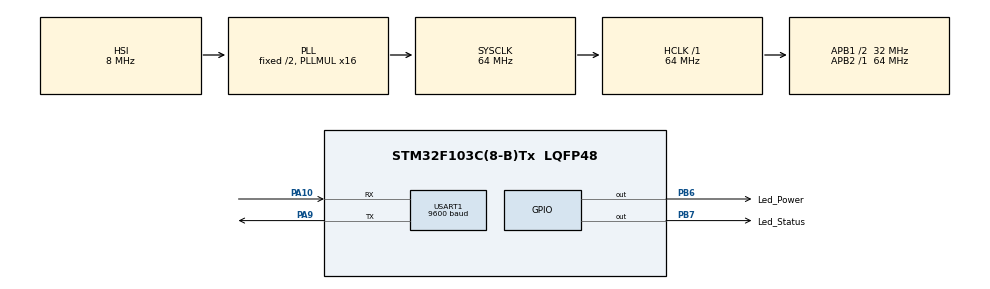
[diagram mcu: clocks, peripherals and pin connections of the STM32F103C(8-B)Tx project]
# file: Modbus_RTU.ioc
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Mcu.Family=STM32F1
Mcu.Name=STM32F103C(8-B)Tx
Mcu.Package=LQFP48
NVIC.PriorityGroup=NVIC_PRIORITYGROUP_4
NVIC.TIM4_IRQn=true\:0\:0\:false\:false\:true\:true\:true
NVIC.USART1_IRQn=true\:0\:0\:false\:false\:true\:true\:true
PA10.Mode=Asynchronous
PA10.Signal=USART1_RX
PA13.Mode=Serial_Wire
PA13.Signal=SYS_JTMS-SWDIO
PA14.Mode=Serial_Wire
PA14.Signal=SYS_JTCK-SWCLK
PA9.Mode=Asynchronous
PA9.Signal=USART1_TX
PB6.GPIO_Label=Led_Power
PB6.Signal=GPIO_Output
PB7.GPIO_Label=Led_Status
PB7.Signal=GPIO_Output
ProjectManager.HeapSize=0x200
ProjectManager.StackSize=0x400
ProjectManager.TargetToolchain=MDK-ARM V5.32
RCC.AHBFreq_Value=64000000
RCC.APB1CLKDivider=RCC_HCLK_DIV2
RCC.APB1Freq_Value=32000000
RCC.APB1TimFreq_Value=64000000
RCC.APB2Freq_Value=64000000
RCC.APB2TimFreq_Value=64000000
RCC.HCLKFreq_Value=64000000
RCC.PLLMUL=RCC_PLL_MUL16
RCC.SYSCLKFreq_VALUE=64000000
RCC.SYSCLKSource=RCC_SYSCLKSOURCE_PLLCLK
RCC.USBFreq_Value=64000000
TIM4.AutoReloadPreload=TIM_AUTORELOAD_PRELOAD_ENABLE
TIM4.Period=999
TIM4.Prescaler=64000
USART1.BaudRate=9600
USART1.VirtualMode=VM_ASYNC
VP_TIM4_VS_ClockSourceINT.Mode=Internal
board=custom

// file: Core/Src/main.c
/* USER CODE BEGIN Header */
/**
  ******************************************************************************
  * @file           : main.c
  * @brief          : Main program body
  ******************************************************************************
  * @attention
  *
  * <h2><center>&copy; Copyright (c) 2022 STMicroelectronics.
  * All rights reserved.</center></h2>
  *
  * This software component is licensed by ST under BSD 3-Clause license,
  * the "License"; You may not use this file except in compliance with the
  * License. You may obtain a copy of the License at:
  *                        opensource.org/licenses/BSD-3-Clause
  *
  ******************************************************************************
  */
/* USER CODE END Header */
#include "main.h"

/* USER CODE BEGIN Includes */
#include "string.h"
#include "stdio.h"
#include "stdlib.h"
/* USER CODE END Includes */

/* USER CODE BEGIN PTD */
//uint8_t cmd_modbus_check[15] = "Hello word\r\n"; // check connection.

/* Begin interrupt UART1 */
uint8_t rev_data;
uint8_t buffer_modbus[8];
//uint8_t modbus_index = 0;
uint8_t flag_modbus = 0;
//uint8_t flag_crc = 0;
uint8_t Pow_ms;
uint8_t Stt_ms;
/* End interrupt UART1 */

/* Begin frame Modbus RTU */
//#define ID_S1000 0x12
#define Function_RO 0x01
#define Function_WO 0x02
#define Function_RW 0x03
#define NoUse 0x00
#define Add_Volt_Solar 0x0001
#define Add_Volt_SAcquy 0x0002
#define Add_Volt_Wacquy 0x0003
#define Add_Ampe_Solar 0x0004
#define Add_Ampe_Sacquy 0x0005
#define Add_Ampe_Wacquy 0x0006
#define Add_Wat_Solar 0x0007
#define Add_Wat_Sacquy 0x0008
#define Add_Wat_Wacquy 0x0009
#define Add_Wat_S1000 0x00A1
#define Add_Wat_W1000 0x00A2
#define Add_Lever_Sensor 0x00A3
#define Add_Temp_Sensor 0x00A4
#define Add_Press_Senser 0x00A5
#define Add_Control_Load 0x0001
#define Add_Charging_Mode 0x0002
#define Add_Brake_Turbin 0x0003

#define Data_Reg_Fixed 0x0001
#define Data_Reg_OFF 0x0001
#define Date_Reg_ON 0x0002

uint8_t SID_slave[32];
uint8_t WID_slave[32];

typedef struct{
	uint8_t ID_slaver;
//	uint8_t WID_slaver;
	uint8_t Function_code;
	uint8_t MSB_AddReg;
	uint8_t LSB_AddReg;
	uint8_t MSB_DataReg;
	uint8_t LSB_DataReg;
	uint16_t AddRreg;
	uint16_t DataReg;
}ModbusRTU_STRUCT;
ModbusRTU_STRUCT ModbusRTU;

/* End frame Modbus RTU */

/* USER CODE END PTD */

TIM_HandleTypeDef htim4;

UART_HandleTypeDef huart1;

void SystemClock_Config(void);
static void MX_GPIO_Init(void);
static void MX_USART1_UART_Init(void);
static void MX_TIM4_Init(void);
/* USER CODE BEGIN PFP */
static void check_crc(void);
static void Write_Mobus_RTU(uint8_t byte_ID, uint8_t byte_func, uint16_t byte_addReg, uint16_t byte_dataReg);
static void BroadCast(void);
static void Clear_Modbus(void);
/* USER CODE END PFP */

int main(void)

{

  /* MCU Configuration--------------------------------------------------------*/

  /* Reset of all peripherals, Initializes the Flash interface and the Systick. */
  HAL_Init();

  /* Configure the system clock */
  SystemClock_Config();

  /* Initialize all configured peripherals */
  MX_GPIO_Init();
  MX_USART1_UART_Init();
  MX_TIM4_Init();
  /* USER CODE BEGIN 2 */
  HAL_TIM_Base_Start_IT(&htim4);
  HAL_UART_Receive_IT(&huart1,&rev_data,1);
  HAL_GPIO_WritePin(Led_Power_GPIO_Port,Led_Power_Pin,GPIO_PIN_SET);
  Write_Mobus_RTU(0xAA,0x01,0x0000,0x0000);
  /* USER CODE END 2 */

  /* Infinite loop */
  /* USER CODE BEGIN WHILE */
  while (1)
  {
	  check_crc();
	  BroadCast();
	   /* USER CODE END WHILE */

  }
}

void SystemClock_Config(void)
{
  RCC_OscInitTypeDef RCC_OscInitStruct = {0};
  RCC_ClkInitTypeDef RCC_ClkInitStruct = {0};

  /** Initializes the RCC Oscillators according to the specified parameters
  * in the RCC_OscInitTypeDef structure.
  */
  RCC_OscInitStruct.OscillatorType = RCC_OSCILLATORTYPE_HSI;
  RCC_OscInitStruct.HSIState = RCC_HSI_ON;
  RCC_OscInitStruct.HSICalibrationValue = RCC_HSICALIBRATION_DEFAULT;
  RCC_OscInitStruct.PLL.PLLState = RCC_PLL_ON;
  RCC_OscInitStruct.PLL.PLLSource = RCC_PLLSOURCE_HSI_DIV2;
  RCC_OscInitStruct.PLL.PLLMUL = RCC_PLL_MUL16;
  if (HAL_RCC_OscConfig(&RCC_OscInitStruct) != HAL_OK)
  {
    Error_Handler();
  }
  /** Initializes the CPU, AHB and APB buses clocks
  */
  RCC_ClkInitStruct.ClockType = RCC_CLOCKTYPE_HCLK|RCC_CLOCKTYPE_SYSCLK
                              |RCC_CLOCKTYPE_PCLK1|RCC_CLOCKTYPE_PCLK2;
  RCC_ClkInitStruct.SYSCLKSource = RCC_SYSCLKSOURCE_PLLCLK;
  RCC_ClkInitStruct.AHBCLKDivider = RCC_SYSCLK_DIV1;
  RCC_ClkInitStruct.APB1CLKDivider = RCC_HCLK_DIV2;
  RCC_ClkInitStruct.APB2CLKDivider = RCC_HCLK_DIV1;

  if (HAL_RCC_ClockConfig(&RCC_ClkInitStruct, FLASH_LATENCY_2) != HAL_OK)
  {
    Error_Handler();
  }
}

static void MX_TIM4_Init(void)
{

  TIM_ClockConfigTypeDef sClockSourceConfig = {0};
  TIM_MasterConfigTypeDef sMasterConfig = {0};

  htim4.Instance = TIM4;
  htim4.Init.Prescaler = 64;
  htim4.Init.CounterMode = TIM_COUNTERMODE_UP;
  htim4.Init.Period = 990;
  htim4.Init.ClockDivision = TIM_CLOCKDIVISION_DIV1;
  htim4.Init.AutoReloadPreload = TIM_AUTORELOAD_PRELOAD_ENABLE;
  if (HAL_TIM_Base_Init(&htim4) != HAL_OK)
  {
    Error_Handler();
  }
  sClockSourceConfig.ClockSource = TIM_CLOCKSOURCE_INTERNAL;
  if (HAL_TIM_ConfigClockSource(&htim4, &sClockSourceConfig) != HAL_OK)
  {
    Error_Handler();
  }
  sMasterConfig.MasterOutputTrigger = TIM_TRGO_RESET;
  sMasterConfig.MasterSlaveMode = TIM_MASTERSLAVEMODE_DISABLE;
  if (HAL_TIMEx_MasterConfigSynchronization(&htim4, &sMasterConfig) != HAL_OK)
  {
    Error_Handler();
  }

}

static void MX_USART1_UART_Init(void)
{

  huart1.Instance = USART1;
  huart1.Init.BaudRate = 19200;
  huart1.Init.WordLength = UART_WORDLENGTH_8B;
  huart1.Init.StopBits = UART_STOPBITS_1;
  huart1.Init.Parity = UART_PARITY_NONE;
  huart1.Init.Mode = UART_MODE_TX_RX;
  huart1.Init.HwFlowCtl = UART_HWCONTROL_NONE;
  huart1.Init.OverSampling = UART_OVERSAMPLING_16;
  if (HAL_UART_Init(&huart1) != HAL_OK)
  {
    Error_Handler();
  }

}

static void MX_GPIO_Init(void)
{
  GPIO_InitTypeDef GPIO_InitStruct = {0};

  /* GPIO Ports Clock Enable */
  __HAL_RCC_GPIOA_CLK_ENABLE();
  __HAL_RCC_GPIOB_CLK_ENABLE();

  /*Configure GPIO pin Output Level */
  HAL_GPIO_WritePin(GPIOB, Led_Power_Pin|Led_Status_Pin, GPIO_PIN_RESET);

  /*Configure GPIO pins : Led_Power_Pin Led_Status_Pin */
  GPIO_InitStruct.Pin = Led_Power_Pin|Led_Status_Pin;
  GPIO_InitStruct.Mode = GPIO_MODE_OUTPUT_PP;
  GPIO_InitStruct.Pull = GPIO_NOPULL;
  GPIO_InitStruct.Speed = GPIO_SPEED_FREQ_LOW;
  HAL_GPIO_Init(GPIOB, &GPIO_InitStruct);

}

/* USER CODE BEGIN 4 */
//static void power_blynk(void)
//{
////	if(Pow_ms >= 1000)
////	  {
////		  HAL_GPIO_TogglePin(Led_Power_GPIO_Port,Led_Power_Pin);
//////		  ms = 0;
////	  }
//}
//static void status_blynk(void)
//{
////	if(Stt_ms > 500)
////	  {
////		  HAL_GPIO_WritePin(Led_Status_GPIO_Port,Led_Status_Pin,GPIO_PIN_RESET);
//////		  ms = 0;
////	  }
////	  else
////	  {
////		  HAL_GPIO_WritePin(Led_Status_GPIO_Port,Led_Status_Pin,GPIO_PIN_RESET);
//////		  ms = 0;
////	  }
//}
static void Clear_Modbus(void)
{
	ModbusRTU.ID_slaver = NULL;
	ModbusRTU.Function_code = NULL;
	ModbusRTU.MSB_AddReg = NULL;
	ModbusRTU.LSB_AddReg = NULL;
	ModbusRTU.MSB_DataReg = NULL;
	ModbusRTU.LSB_DataReg = NULL;
	ModbusRTU.AddRreg = NULL;
	ModbusRTU.DataReg =NULL;
}
static void check_crc(void)
{
	uint8_t _crc[1];
	uint8_t _code_error[1] = {0xA2};
	switch(flag_modbus)
	{
		case 0:
			// nothing
			break;
		case 1:
			// check sum
//			HAL_UART_Transmit(&huart1,buffer_modbus,sizeof(buffer_modbus),100);
			_crc[0] = buffer_modbus[0] + buffer_modbus[1] + buffer_modbus[2] + buffer_modbus[3] + buffer_modbus[4] + buffer_modbus[5];
//		    HAL_UART_Transmit(&huart1,check_crc,sizeof(check_crc),100);
			if(_crc[0] == buffer_modbus[6])
			{
				ModbusRTU.ID_slaver = buffer_modbus[0];
				ModbusRTU.Function_code = buffer_modbus[1];
				ModbusRTU.MSB_AddReg = buffer_modbus[2];
				ModbusRTU.LSB_AddReg = buffer_modbus[3];
				ModbusRTU.MSB_DataReg = buffer_modbus[4];
				ModbusRTU.LSB_DataReg = buffer_modbus[5];
				ModbusRTU.AddRreg = ModbusRTU.MSB_AddReg << 8 | ModbusRTU.LSB_AddReg;
				ModbusRTU.DataReg = ModbusRTU.MSB_DataReg << 8 | ModbusRTU.LSB_DataReg;
				_crc[0] =NULL;
			}
//			strcpy
			else /* if(check_crc[0] != buffer_modbus[6])*/
			{
				HAL_UART_Transmit(&huart1,_code_error,sizeof(_code_error),100);
//				status_blynk();
//				Stt_ms = 1;
			}
			flag_modbus = 0;
			for(int i=0;i<=8;i++)
				buffer_modbus[i]=NULL;
//			status_blynk();
			Stt_ms = 1;
			break;
		default:
			break;
	}
}
static void Write_Mobus_RTU(uint8_t byte_ID, uint8_t byte_func, uint16_t byte_addReg, uint16_t byte_dataReg)
{
	uint8_t Add_MSB = byte_addReg >> 8;
	uint8_t Add_LSB = byte_addReg;
	uint8_t data_MSB = byte_dataReg >> 8;
	uint8_t data_LSB = byte_dataReg;
	uint8_t byte_crc = byte_ID+byte_func+Add_MSB+Add_LSB+data_MSB+data_LSB;
	uint8_t byte_start = 0x3A;
	uint8_t byte_stop[2] = {0x0D,0x0A};
	uint8_t Write_Modbus[10] = {byte_start,byte_ID,byte_func,Add_MSB,Add_LSB,data_MSB,data_LSB,byte_crc,byte_stop[0],byte_stop[1]};
	HAL_UART_Transmit(&huart1,Write_Modbus,sizeof(Write_Modbus),100);
//	for(int i=0;i<=1;i++)Write_Modbus[i]=NULL;
}
static void BroadCast(void)
{
	switch(ModbusRTU.Function_code)
	  {
		  case 0x01: // read only
			  switch(ModbusRTU.ID_slaver)
			  {
				  case 0xAA:
					   if(0x00 < ModbusRTU.MSB_AddReg && ModbusRTU.MSB_AddReg <= 0x2F)
					   {
							 for(int i=0;i<=32;i++)
							 {
								 if(SID_slave[i] == 0x00)
								 {
									SID_slave[i] = ModbusRTU.MSB_AddReg;
									 Clear_Modbus();
								 }
							  }
						}
					    if(0x30 < ModbusRTU.MSB_AddReg && ModbusRTU.MSB_AddReg <= 0x5F)
					   {
							 for(int i=0;i<=32;i++)
							 {
								 if(WID_slave[i] == 0x00)
								 {
									WID_slave[i] = ModbusRTU.MSB_AddReg;
									 Clear_Modbus();
								 }
							  }
						}
					  break;
				  default:
					  break;
			  }
			  break;
		  case 0x02: // write only
			  break;
		  case 0x03: // read write
			  break;
		  default:
			  break;
	  }
}

/* USER CODE END 4 */

void Error_Handler(void)
{
  __disable_irq();
  while (1)
  {
  }
}

/************************ (C) COPYRIGHT STMicroelectronics *****END OF FILE****/
